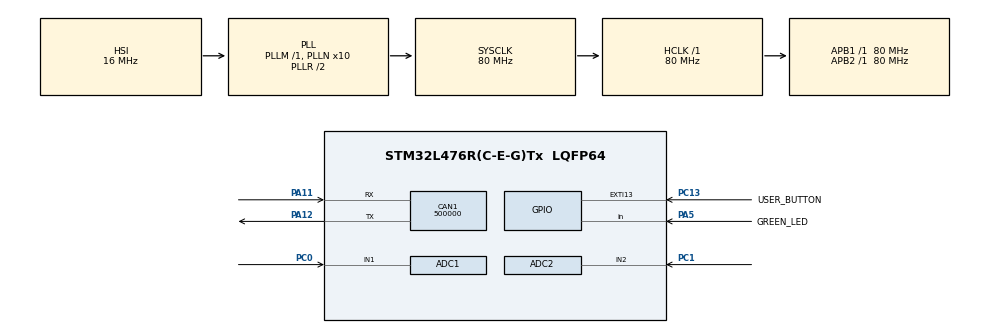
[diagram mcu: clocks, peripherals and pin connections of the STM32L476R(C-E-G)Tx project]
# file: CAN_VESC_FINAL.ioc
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ADC1.Channel-0\#ChannelRegularConversion=ADC_CHANNEL_1
ADC1.NbrOfConversionFlag=1
ADC1.OffsetNumber-0\#ChannelRegularConversion=ADC_OFFSET_NONE
ADC1.Rank-0\#ChannelRegularConversion=1
ADC1.SamplingTime-0\#ChannelRegularConversion=ADC_SAMPLETIME_2CYCLES_5
ADC1.master=1
ADC2.Channel-0\#ChannelRegularConversion=ADC_CHANNEL_2
ADC2.NbrOfConversionFlag=1
ADC2.OffsetNumber-0\#ChannelRegularConversion=ADC_OFFSET_NONE
ADC2.Rank-0\#ChannelRegularConversion=1
ADC2.SamplingTime-0\#ChannelRegularConversion=ADC_SAMPLETIME_2CYCLES_5
CAN1.BS1=CAN_BS1_6TQ
CAN1.BS2=CAN_BS2_3TQ
CAN1.CalculateBaudRate=500000
CAN1.CalculateTimeBit=2000
CAN1.CalculateTimeQuantum=200.0
Mcu.Family=STM32L4
Mcu.Name=STM32L476R(C-E-G)Tx
Mcu.Package=LQFP64
NVIC.CAN1_RX0_IRQn=true\:0\:0\:false\:false\:true\:true\:true\:true
NVIC.EXTI15_10_IRQn=true\:0\:0\:false\:false\:true\:true\:true\:true
NVIC.PriorityGroup=NVIC_PRIORITYGROUP_4
PA11.Mode=CAN_Activate
PA11.Signal=CAN1_RX
PA12.Mode=CAN_Activate
PA12.Signal=CAN1_TX
PA5.GPIO_Label=GREEN_LED
PA5.Signal=GPIO_Input
PC0.Signal=ADCx_IN1
PC1.Signal=ADCx_IN2
PC13.GPIO_Label=USER_BUTTON
PC13.Signal=GPXTI13
ProjectManager.HeapSize=0x200
ProjectManager.StackSize=0x400
ProjectManager.TargetToolchain=STM32CubeIDE
RCC.ADCFreq_Value=64000000
RCC.AHBFreq_Value=80000000
RCC.APB1Freq_Value=80000000
RCC.APB1TimFreq_Value=80000000
RCC.APB2Freq_Value=80000000
RCC.APB2TimFreq_Value=80000000
RCC.CortexFreq_Value=80000000
RCC.HCLKFreq_Value=80000000
RCC.HSE_VALUE=8000000
RCC.HSI_VALUE=16000000
RCC.LSE_VALUE=32768
RCC.MSI_VALUE=4000000
RCC.PLLN=10
RCC.PLLSourceVirtual=RCC_PLLSOURCE_HSI
RCC.PREFETCH_ENABLE=1
RCC.SYSCLKFreq_VALUE=80000000
RCC.SYSCLKSource=RCC_SYSCLKSOURCE_PLLCLK
RCC.USBFreq_Value=64000000
RCC.VCOOutputFreq_Value=160000000
SH.ADCx_IN1.0=ADC1_IN1,IN1-Single-Ended
SH.ADCx_IN2.0=ADC2_IN2,IN2-Single-Ended
board=NUCLEO-L476RG

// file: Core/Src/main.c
/* USER CODE BEGIN Header */
/**
  ******************************************************************************
  * @file           : main.c
  * @brief          : Main program body
  ******************************************************************************
  * @attention
  *
  * Copyright (c) 2023 STMicroelectronics.
  * All rights reserved.
  *
  * This software is licensed under terms that can be found in the LICENSE file
  * in the root directory of this software component.
  * If no LICENSE file comes with this software, it is provided AS-IS.
  *
  ******************************************************************************
  */
/* USER CODE END Header */
#include "main.h"

ADC_HandleTypeDef hadc1;
ADC_HandleTypeDef hadc2;

CAN_HandleTypeDef hcan1;

void SystemClock_Config(void);
void PeriphCommonClock_Config(void);
static void MX_GPIO_Init(void);
static void MX_CAN1_Init(void);
static void MX_ADC1_Init(void);
static void MX_ADC2_Init(void);

/* USER CODE BEGIN 0 */

CAN_TxHeaderTypeDef TxHeader;
CAN_RxHeaderTypeDef RxHeader1;

uint8_t TxData1[8];
uint8_t RxData1[8];

uint8_t TxData2[8];

uint32_t TxMailbox;

uint32_t rpm1 = 0;
uint32_t erpm1 = 0;
uint32_t Current1 = 0;
uint32_t Duty_Cycle1 = 0;

uint32_t rpm2 = 0;
uint32_t erpm2 = 0;
uint32_t Current2 = 0;
uint32_t Duty_Cycle2 = 0;

void HAL_GPIO_EXTI_Callback(uint16_t GPIO_Pin)
{
	if (GPIO_Pin == USER_BUTTON_Pin)
	{
//		  TxData1[0] = 0x00;
//		  TxData1[1] = 0x00;
//		  TxData1[2] = 0x1B;
//		  TxData1[3] = 0x58;

//		  TxData2[0] = 0x00;
//		  TxData2[1] = 0x00;
//		  TxData2[2] = 0x03;
//		  TxData2[3] = 0xE8;

//		int decimalNum1 = 7000;
//		int decimalNum2 = 1000;

//		intToCAN(TxData1, decimalNum1);
//		intToCAN(TxData2, decimalNum2);

//		TxHeader.ExtId = 0x30A;
//		HAL_CAN_AddTxMessage(&hcan1, &TxHeader, TxData1, &TxMailbox);
//		TxHeader.ExtId = 0x365;  // ID
//		HAL_CAN_AddTxMessage(&hcan1, &TxHeader, TxData2, &TxMailbox);
	}
}

void HAL_CAN_RxFifo0MsgPendingCallback(CAN_HandleTypeDef *hcan)
{
	if (HAL_CAN_GetRxMessage(hcan, CAN_RX_FIFO0, &RxHeader1, RxData1) != HAL_OK)
	  {
	    Error_Handler();
	  }
	if ((RxHeader1.ExtId == 0x965)) // Id for Status update 1 from VESC
	  {
		HAL_GPIO_TogglePin(GREEN_LED_GPIO_Port, GREEN_LED_Pin);

		//rpm1 PART OF THE INTERRUPT
		//We recieve the erpm1 from the VESC, divided by 7 with our motor to get the rpm1
		erpm1 = 0;
		rpm1 = 0;
	    for (int i=0; i<=3; i++) {
	    	erpm1 <<=8;  // shift by a complete byte, equal to num *= 256
	    	erpm1 |= RxData1[i];  // write the respective byte
	    }
	    rpm1 = erpm1/7;

	    //Current11 PART OF THE INTERRUPT'
	    // Current1 is the Current1 of the entire VESC, multiplied with 10
		Current1 = 0;
	    for (int i=4; i<=5; i++) {
	    	Current1 <<=8;  // shift by a complete byte, equal to num *= 256
	    	Current1 |= RxData1[i];  // write the respective byte
	    }

	    //DUTY CYCLE PART OF THE INTERRUPT
	    // The Duty cycle is multiplied with 1000
	    Duty_Cycle1 = 0;
	    for (int i=6; i<=7; i++) {
	    	Duty_Cycle1 <<=8;  // shift by a complete byte, equal to num *= 256
	    	Duty_Cycle1 |= RxData1[i];  // write the respective byte
	    }
	  }
	if ((RxHeader1.ExtId == 0x90A)) // Id for Status update 1 from VESC
		  {
			HAL_GPIO_TogglePin(GREEN_LED_GPIO_Port, GREEN_LED_Pin);

			//rpm1 PART OF THE INTERRUPT
			//We recieve the erpm1 from the VESC, divided by 7 with our motor to get the rpm1
			erpm2 = 0;
			rpm2 = 0;
		    for (int i=0; i<=3; i++) {
		    	erpm2 <<=8;  // shift by a complete byte, equal to num *= 256
		    	erpm2 |= RxData1[i];  // write the respective byte
		    }
		    rpm2 = erpm2/7;

		    //Current11 PART OF THE INTERRUPT'
		    // Current1 is the Current1 of the entire VESC, multiplied with 10
			Current2 = 0;
		    for (int i=4; i<=5; i++) {
		    	Current2 <<=8;  // shift by a complete byte, equal to num *= 256
		    	Current2 |= RxData1[i];  // write the respective byte
		    }

		    //DUTY CYCLE PART OF THE INTERRUPT
		    // The Duty cycle is multiplied with 1000
		    Duty_Cycle2 = 0;
		    for (int i=6; i<=7; i++) {
		    	Duty_Cycle2 <<=8;  // shift by a complete byte, equal to num *= 256
		    	Duty_Cycle2 |= RxData1[i];  // write the respective byte
		    }
		  }
}

/*
 * intToCan
 * Transfering a value to the XtxData buffer for the CAN
 *
 * Input:
 * - TxData: 	Writing a int to the TxData buffer to send via CAN.
 * - value:		The value being sent via CAN.
 */
void intToCAN(uint8_t *TxData, int value) {

    int temp;

    for (int i = 0; i < 4; i++) {
        temp = value % 256;
        *(TxData + 3 - i) = temp;
        value /= 256;
    }

}

/* USER CODE END 0 */

int main(void)
{

  /* MCU Configuration--------------------------------------------------------*/

  /* Reset of all peripherals, Initializes the Flash interface and the Systick. */
  HAL_Init();

  /* Configure the system clock */
  SystemClock_Config();

/* Configure the peripherals common clocks */
  PeriphCommonClock_Config();

  /* Initialize all configured peripherals */
  MX_GPIO_Init();
  MX_CAN1_Init();
  MX_ADC1_Init();
  MX_ADC2_Init();
  /* USER CODE BEGIN 2 */

  HAL_CAN_Start(&hcan1);

  // Activate the notification
  HAL_CAN_ActivateNotification(&hcan1, CAN_IT_RX_FIFO0_MSG_PENDING);

  TxHeader.DLC = 4;  // data length
  TxHeader.IDE = CAN_ID_EXT;
  TxHeader.RTR = CAN_RTR_DATA;
  TxHeader.ExtId = 0x30A;  // ID

  int val_adc1;
  int val_adc2;
  /* USER CODE END 2 */

  /* Infinite loop */
  /* USER CODE BEGIN WHILE */
  while (1)
  {
	  // Get value from adc 1. Spanning from 0 to 4095.
	  HAL_ADC_Start(&hadc1); // pin A5
	  HAL_ADC_PollForConversion(&hadc1, 1);
	  val_adc1 = HAL_ADC_GetValue(&hadc1);

	  // Get value from adc 2. Spanning from 0 to 4095.
	  HAL_ADC_Start(&hadc2); // pin A6
	  HAL_ADC_PollForConversion(&hadc2, 1);
	  val_adc2 = HAL_ADC_GetValue(&hadc2);

	  intToCAN(TxData1, val_adc1);
	  intToCAN(TxData2, val_adc2);

	  TxHeader.ExtId = 0x30A;
	  HAL_CAN_AddTxMessage(&hcan1, &TxHeader, TxData1, &TxMailbox);
	  TxHeader.ExtId = 0x365;  // ID
	  HAL_CAN_AddTxMessage(&hcan1, &TxHeader, TxData2, &TxMailbox);

	  HAL_Delay(100);
    /* USER CODE END WHILE */

  }
}

void SystemClock_Config(void)
{
  RCC_OscInitTypeDef RCC_OscInitStruct = {0};
  RCC_ClkInitTypeDef RCC_ClkInitStruct = {0};

  /** Configure the main internal regulator output voltage
  */
  if (HAL_PWREx_ControlVoltageScaling(PWR_REGULATOR_VOLTAGE_SCALE1) != HAL_OK)
  {
    Error_Handler();
  }

  /** Initializes the RCC Oscillators according to the specified parameters
  * in the RCC_OscInitTypeDef structure.
  */
  RCC_OscInitStruct.OscillatorType = RCC_OSCILLATORTYPE_HSI;
  RCC_OscInitStruct.HSIState = RCC_HSI_ON;
  RCC_OscInitStruct.HSICalibrationValue = RCC_HSICALIBRATION_DEFAULT;
  RCC_OscInitStruct.PLL.PLLState = RCC_PLL_ON;
  RCC_OscInitStruct.PLL.PLLSource = RCC_PLLSOURCE_HSI;
  RCC_OscInitStruct.PLL.PLLM = 1;
  RCC_OscInitStruct.PLL.PLLN = 10;
  RCC_OscInitStruct.PLL.PLLP = RCC_PLLP_DIV7;
  RCC_OscInitStruct.PLL.PLLQ = RCC_PLLQ_DIV2;
  RCC_OscInitStruct.PLL.PLLR = RCC_PLLR_DIV2;
  if (HAL_RCC_OscConfig(&RCC_OscInitStruct) != HAL_OK)
  {
    Error_Handler();
  }

  /** Initializes the CPU, AHB and APB buses clocks
  */
  RCC_ClkInitStruct.ClockType = RCC_CLOCKTYPE_HCLK|RCC_CLOCKTYPE_SYSCLK
                              |RCC_CLOCKTYPE_PCLK1|RCC_CLOCKTYPE_PCLK2;
  RCC_ClkInitStruct.SYSCLKSource = RCC_SYSCLKSOURCE_PLLCLK;
  RCC_ClkInitStruct.AHBCLKDivider = RCC_SYSCLK_DIV1;
  RCC_ClkInitStruct.APB1CLKDivider = RCC_HCLK_DIV1;
  RCC_ClkInitStruct.APB2CLKDivider = RCC_HCLK_DIV1;

  if (HAL_RCC_ClockConfig(&RCC_ClkInitStruct, FLASH_LATENCY_4) != HAL_OK)
  {
    Error_Handler();
  }
}

void PeriphCommonClock_Config(void)
{
  RCC_PeriphCLKInitTypeDef PeriphClkInit = {0};

  /** Initializes the peripherals clock
  */
  PeriphClkInit.PeriphClockSelection = RCC_PERIPHCLK_ADC;
  PeriphClkInit.AdcClockSelection = RCC_ADCCLKSOURCE_PLLSAI1;
  PeriphClkInit.PLLSAI1.PLLSAI1Source = RCC_PLLSOURCE_HSI;
  PeriphClkInit.PLLSAI1.PLLSAI1M = 1;
  PeriphClkInit.PLLSAI1.PLLSAI1N = 8;
  PeriphClkInit.PLLSAI1.PLLSAI1P = RCC_PLLP_DIV7;
  PeriphClkInit.PLLSAI1.PLLSAI1Q = RCC_PLLQ_DIV2;
  PeriphClkInit.PLLSAI1.PLLSAI1R = RCC_PLLR_DIV2;
  PeriphClkInit.PLLSAI1.PLLSAI1ClockOut = RCC_PLLSAI1_ADC1CLK;
  if (HAL_RCCEx_PeriphCLKConfig(&PeriphClkInit) != HAL_OK)
  {
    Error_Handler();
  }
}

static void MX_ADC1_Init(void)
{

  ADC_MultiModeTypeDef multimode = {0};
  ADC_ChannelConfTypeDef sConfig = {0};

  /** Common config
  */
  hadc1.Instance = ADC1;
  hadc1.Init.ClockPrescaler = ADC_CLOCK_ASYNC_DIV1;
  hadc1.Init.Resolution = ADC_RESOLUTION_12B;
  hadc1.Init.DataAlign = ADC_DATAALIGN_RIGHT;
  hadc1.Init.ScanConvMode = ADC_SCAN_DISABLE;
  hadc1.Init.EOCSelection = ADC_EOC_SINGLE_CONV;
  hadc1.Init.LowPowerAutoWait = DISABLE;
  hadc1.Init.ContinuousConvMode = DISABLE;
  hadc1.Init.NbrOfConversion = 1;
  hadc1.Init.DiscontinuousConvMode = DISABLE;
  hadc1.Init.ExternalTrigConv = ADC_SOFTWARE_START;
  hadc1.Init.ExternalTrigConvEdge = ADC_EXTERNALTRIGCONVEDGE_NONE;
  hadc1.Init.DMAContinuousRequests = DISABLE;
  hadc1.Init.Overrun = ADC_OVR_DATA_PRESERVED;
  hadc1.Init.OversamplingMode = DISABLE;
  if (HAL_ADC_Init(&hadc1) != HAL_OK)
  {
    Error_Handler();
  }

  /** Configure the ADC multi-mode
  */
  multimode.Mode = ADC_MODE_INDEPENDENT;
  if (HAL_ADCEx_MultiModeConfigChannel(&hadc1, &multimode) != HAL_OK)
  {
    Error_Handler();
  }

  /** Configure Regular Channel
  */
  sConfig.Channel = ADC_CHANNEL_1;
  sConfig.Rank = ADC_REGULAR_RANK_1;
  sConfig.SamplingTime = ADC_SAMPLETIME_2CYCLES_5;
  sConfig.SingleDiff = ADC_SINGLE_ENDED;
  sConfig.OffsetNumber = ADC_OFFSET_NONE;
  sConfig.Offset = 0;
  if (HAL_ADC_ConfigChannel(&hadc1, &sConfig) != HAL_OK)
  {
    Error_Handler();
  }

}

static void MX_ADC2_Init(void)
{

  ADC_ChannelConfTypeDef sConfig = {0};

  /** Common config
  */
  hadc2.Instance = ADC2;
  hadc2.Init.ClockPrescaler = ADC_CLOCK_ASYNC_DIV1;
  hadc2.Init.Resolution = ADC_RESOLUTION_12B;
  hadc2.Init.DataAlign = ADC_DATAALIGN_RIGHT;
  hadc2.Init.ScanConvMode = ADC_SCAN_DISABLE;
  hadc2.Init.EOCSelection = ADC_EOC_SINGLE_CONV;
  hadc2.Init.LowPowerAutoWait = DISABLE;
  hadc2.Init.ContinuousConvMode = DISABLE;
  hadc2.Init.NbrOfConversion = 1;
  hadc2.Init.DiscontinuousConvMode = DISABLE;
  hadc2.Init.ExternalTrigConv = ADC_SOFTWARE_START;
  hadc2.Init.ExternalTrigConvEdge = ADC_EXTERNALTRIGCONVEDGE_NONE;
  hadc2.Init.DMAContinuousRequests = DISABLE;
  hadc2.Init.Overrun = ADC_OVR_DATA_PRESERVED;
  hadc2.Init.OversamplingMode = DISABLE;
  if (HAL_ADC_Init(&hadc2) != HAL_OK)
  {
    Error_Handler();
  }

  /** Configure Regular Channel
  */
  sConfig.Channel = ADC_CHANNEL_2;
  sConfig.Rank = ADC_REGULAR_RANK_1;
  sConfig.SamplingTime = ADC_SAMPLETIME_2CYCLES_5;
  sConfig.SingleDiff = ADC_SINGLE_ENDED;
  sConfig.OffsetNumber = ADC_OFFSET_NONE;
  sConfig.Offset = 0;
  if (HAL_ADC_ConfigChannel(&hadc2, &sConfig) != HAL_OK)
  {
    Error_Handler();
  }

}

static void MX_CAN1_Init(void)
{

  hcan1.Instance = CAN1;
  hcan1.Init.Prescaler = 16;
  hcan1.Init.Mode = CAN_MODE_NORMAL;
  hcan1.Init.SyncJumpWidth = CAN_SJW_1TQ;
  hcan1.Init.TimeSeg1 = CAN_BS1_6TQ;
  hcan1.Init.TimeSeg2 = CAN_BS2_3TQ;
  hcan1.Init.TimeTriggeredMode = DISABLE;
  hcan1.Init.AutoBusOff = DISABLE;
  hcan1.Init.AutoWakeUp = DISABLE;
  hcan1.Init.AutoRetransmission = DISABLE;
  hcan1.Init.ReceiveFifoLocked = DISABLE;
  hcan1.Init.TransmitFifoPriority = DISABLE;
  if (HAL_CAN_Init(&hcan1) != HAL_OK)
  {
    Error_Handler();
  }
  /* USER CODE BEGIN CAN1_Init 2 */

  CAN_FilterTypeDef canfilterconfig;

  canfilterconfig.FilterActivation = CAN_FILTER_ENABLE;
  canfilterconfig.FilterBank = 10;  // which filter bank to use from the assigned ones
  canfilterconfig.FilterFIFOAssignment = CAN_FILTER_FIFO0;
  canfilterconfig.FilterIdHigh = 0;
  canfilterconfig.FilterIdLow = 0;
  canfilterconfig.FilterMaskIdHigh = 0;
  canfilterconfig.FilterMaskIdLow = 0x0000;
  canfilterconfig.FilterMode = CAN_FILTERMODE_IDMASK;
  canfilterconfig.FilterScale = CAN_FILTERSCALE_32BIT;
  canfilterconfig.SlaveStartFilterBank = 13;  // how many filters to assign to the CAN1 (master can)

  HAL_CAN_ConfigFilter(&hcan1, &canfilterconfig);

  /* USER CODE END CAN1_Init 2 */

}

static void MX_GPIO_Init(void)
{
  GPIO_InitTypeDef GPIO_InitStruct = {0};

  /* GPIO Ports Clock Enable */
  __HAL_RCC_GPIOC_CLK_ENABLE();
  __HAL_RCC_GPIOA_CLK_ENABLE();

  /*Configure GPIO pin : USER_BUTTON_Pin */
  GPIO_InitStruct.Pin = USER_BUTTON_Pin;
  GPIO_InitStruct.Mode = GPIO_MODE_IT_RISING;
  GPIO_InitStruct.Pull = GPIO_NOPULL;
  HAL_GPIO_Init(USER_BUTTON_GPIO_Port, &GPIO_InitStruct);

  /*Configure GPIO pin : GREEN_LED_Pin */
  GPIO_InitStruct.Pin = GREEN_LED_Pin;
  GPIO_InitStruct.Mode = GPIO_MODE_INPUT;
  GPIO_InitStruct.Pull = GPIO_NOPULL;
  HAL_GPIO_Init(GREEN_LED_GPIO_Port, &GPIO_InitStruct);

  /* EXTI interrupt init*/
  HAL_NVIC_SetPriority(EXTI15_10_IRQn, 0, 0);
  HAL_NVIC_EnableIRQ(EXTI15_10_IRQn);

}

void Error_Handler(void)
{
  __disable_irq();
  while (1)
  {
  }
}
